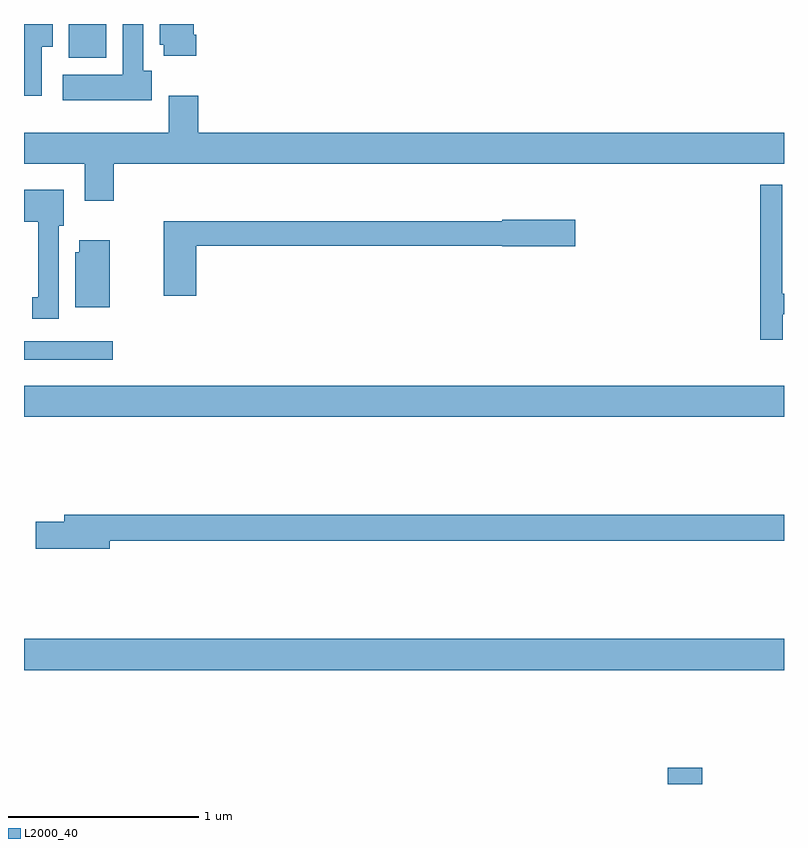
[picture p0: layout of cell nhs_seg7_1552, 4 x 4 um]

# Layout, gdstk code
import gdstk
lib = gdstk.Library(unit=1e-6, precision=1e-09)
def R(c, l, rs):  # rectangles x0, y0, x1, y1
    for r in rs: c.add(gdstk.rectangle(r[:2], r[2:], *l))
def P(c, l, *ps):  # polygons
    for p in ps: c.add(gdstk.Polygon(p, *l))
L2000_40 = (2000, 40)

nhs_seg7_1552 = lib.new_cell('nhs_seg7_1552')
R(nhs_seg7_1552, L2000_40, [(220.388,1016,220.571,1016.086), (217,1016.6,221,1016.764), (217,1017.932,221,1018.096), (217,1018.232,217.468,1018.329), (217.235,1019.822,217.432,1020)])
P(nhs_seg7_1552, L2000_40, [(217.093,1019.881),(217.15,1019.881),(217.15,1020),(217,1020),(217,1019.622),(217.093,1019.622)],
  [(217.907,1019.944),(217.894,1019.944),(217.894,1020),(217.715,1020),(217.715,1019.892),(217.736,1019.892),(217.736,1019.832),(217.907,1019.832)],
  [(217.672,1019.754),(217.627,1019.754),(217.627,1020),(217.52,1020),(217.52,1019.734),(217.203,1019.734),(217.203,1019.6),(217.672,1019.6)],
  [(217.472,1019.264),(221,1019.264),(221,1019.428),(217.916,1019.428),(217.916,1019.623),(217.763,1019.623),(217.763,1019.428),(217,1019.428),(217,1019.264),(217.319,1019.264),(217.319,1019.07),(217.472,1019.07)],
  [(220.993,1018.473),(221,1018.473),(221,1018.581),(220.992,1018.581),(220.992,1019.155),(220.876,1019.155),(220.876,1018.338),(220.993,1018.338)],
  [(217.183,1018.938),(217.21,1018.938),(217.21,1019.128),(217,1019.128),(217,1018.958),(217.076,1018.958),(217.076,1018.562),(217.043,1018.562),(217.043,1018.449),(217.183,1018.449)],
  [(217.907,1018.834),(219.516,1018.834),(219.516,1018.829),(219.901,1018.829),(219.901,1018.971),(219.516,1018.971),(219.516,1018.963),(217.736,1018.963),(217.736,1018.569),(217.907,1018.569)],
  [(217.45,1018.861),(217.292,1018.861),(217.292,1018.8),(217.271,1018.8),(217.271,1018.508),(217.45,1018.508)],
  [(217.45,1017.28),(221,1017.28),(221,1017.416),(217.211,1017.416),(217.211,1017.38),(217.062,1017.38),(217.062,1017.238),(217.45,1017.238)])

lib.write_gds('nhs_seg7_1552.gds')
